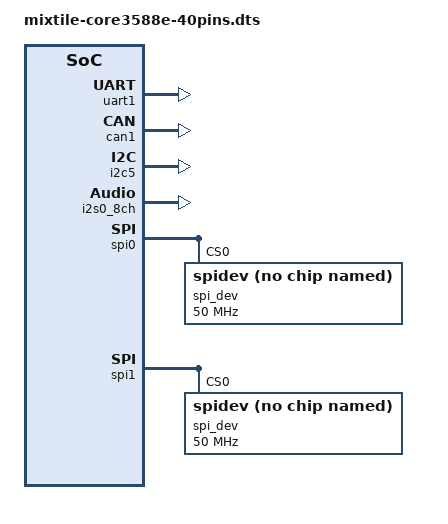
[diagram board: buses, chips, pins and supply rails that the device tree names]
/dts-v1/;
/plugin/;

#include <dt-bindings/interrupt-controller/irq.h>
#include <dt-bindings/pinctrl/rockchip.h>

/ {
	fragment@0 {
		target = <&uart1>;

		__overlay__ {
			status = "okay";
			pinctrl-0 = <&uart1m1_xfer &uart1m1_ctsn &uart1m1_rtsn>;
		};
	};

	fragment@1 {
                target = <&can1>;

                __overlay__ {
                        status = "okay";
                        pinctrl-names = "default";
                        pinctrl-0 = <&can1m1_pins>;
                };
        };

	fragment@2 {
		target = <&i2c5>;

		__overlay__ {
                        status = "okay";
                        pinctrl-names = "default";
                        pinctrl-0 = <&i2c5m2_xfer>;
		};
	};

	fragment@3 {
		target = <&i2s0_8ch>;
		
		__overlay__ {
			status = "okay";
			pinctrl-names = "default";
			pinctrl-0 = <&i2s0_lrck
			             &i2s0_sclk
			             &i2s0_sdi0
			             &i2s0_sdo0>;
		};
	};

	fragment@4 {
		target = <&spi0>;

		__overlay__ {
			status = "okay";
			pinctrl-names = "default";
			pinctrl-0 = <&spi0m3_cs1 &spi0m3_pins>;
			num-cs = <1>;
			
			spi_dev@0 {
			        compatible = "rockchip,spidev";
			        reg = <0>;
			        spi-max-frequency = <50000000>;
			};
		};	
	};	

	fragment@5 {
		target = <&spi1>;
		
		__overlay__ {
			status = "okay";
			pinctrl-names = "default";
			pinctrl-0 = <&spi1m2_cs0 &spi1m2_pins>;
			num-cs = <1>;
			
			spi_dev@0 {
			        compatible = "rockchip,spidev";
			        reg = <0>;
			        spi-max-frequency = <50000000>;
			};
		};
	};
};

